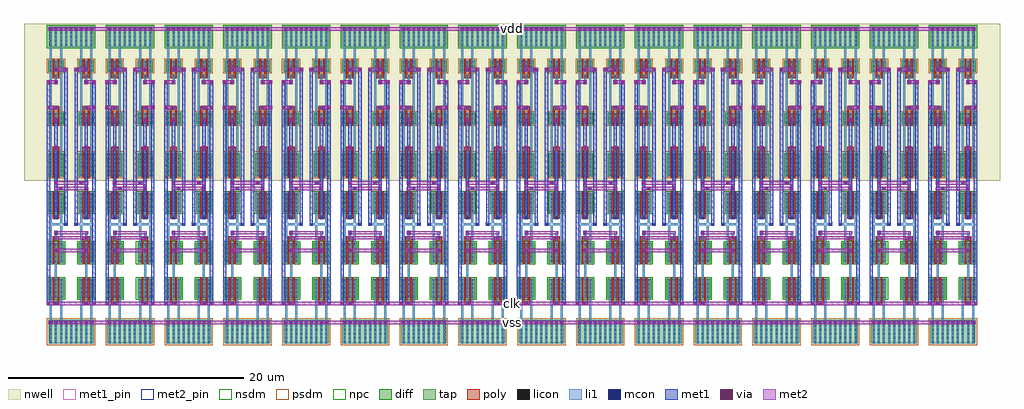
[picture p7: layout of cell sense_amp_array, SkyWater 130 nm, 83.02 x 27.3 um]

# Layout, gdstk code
from math import pi, radians
import gdstk
lib = gdstk.Library(unit=1e-6, precision=1e-09)
def R(c, l, rs):  # rectangles x0, y0, x1, y1
    for r in rs: c.add(gdstk.rectangle(r[:2], r[2:], *l))
def A(c, l, x, y, w, h, nx, ny, dx, dy):  # array of equal rectangles
    R(c, l, [(x+i*dx, y+j*dy, x+i*dx+w, y+j*dy+h) for i in range(nx) for j in range(ny)])
def P(c, l, *ps):  # polygons
    for p in ps: c.add(gdstk.Polygon(p, *l))
nwell = (64, 20)
diff = (65, 20)
tap = (65, 44)
poly = (66, 20)
licon = (66, 44)
li1 = (67, 20)
mcon = (67, 44)
met1_pin = (68, 16)
met1 = (68, 20)
via = (68, 44)
met2_pin = (69, 16)
met2 = (69, 20)
nsdm = (93, 44)
psdm = (94, 20)
npc = (95, 20)

mosend_1 = lib.new_cell('MOSEnd_1')
R(mosend_1, nwell, [(0,0,6.88,0.43)])

pyl1_c_cdns_664133800984 = lib.new_cell('PYL1_C_CDNS_664133800984')
R(pyl1_c_cdns_664133800984, poly, [(-0.14,-0.135,0.14,0.135)])
R(pyl1_c_cdns_664133800984, licon, [(-0.085,-0.085,0.085,0.085)])
R(pyl1_c_cdns_664133800984, li1, [(-0.085,-0.165,0.085,0.165)])
R(pyl1_c_cdns_664133800984, npc, [(-0.105,-0.185,0.105,0.185)])

mosconn = lib.new_cell('MOSConn')
R(mosconn, diff, [(-0.215,0.655,1.075,2.335)])
P(mosconn, poly, [(0.14,0.105),(0.14,2.465),(0.29,2.465),(0.29,0.455),(0.57,0.455),(0.57,2.465),(0.72,2.465),(0.72,0.105)])
A(mosconn, licon, -0.085, 0.73, 0.17, 0.17, 3, 5, 0.43, 0.34)
A(mosconn, li1, -0.085, 0.65, 0.17, 1.69, 3, 1, 0.43, 0)
R(mosconn, li1, [(0.345,0.115,0.515,0.445)])
R(mosconn, nsdm, [(-0.345,0.525,1.205,2.465)])
R(mosconn, npc, [(0.245,0.095,0.615,0.465)])
mosconn.add(gdstk.Reference(pyl1_c_cdns_664133800984, (0.43,0.28)))

mosconn_2 = lib.new_cell('MOSConn_2')
R(mosconn_2, nwell, [(-0.345,0,1.205,3.01)])
R(mosconn_2, diff, [(-0.215,0.655,1.075,2.655)])
P(mosconn_2, poly, [(0.14,0.105),(0.14,2.785),(0.29,2.785),(0.29,0.455),(0.57,0.455),(0.57,2.785),(0.72,2.785),(0.72,0.105)])
A(mosconn_2, licon, -0.085, 0.72, 0.17, 0.17, 3, 6, 0.43, 0.34)
A(mosconn_2, li1, -0.085, 0.64, 0.17, 2.03, 3, 1, 0.43, 0)
R(mosconn_2, li1, [(0.345,0.115,0.515,0.445)])
R(mosconn_2, psdm, [(-0.345,0.525,1.205,2.785)])
R(mosconn_2, npc, [(0.245,0.095,0.615,0.465)])
mosconn_2.add(gdstk.Reference(pyl1_c_cdns_664133800984, (0.43,0.28)))

mosconn_3 = lib.new_cell('MOSConn_3')
R(mosconn_3, nwell, [(-0.345,0,1.205,2.15)])
R(mosconn_3, diff, [(-0.215,0.655,1.075,1.655)])
P(mosconn_3, poly, [(0.14,0.105),(0.14,1.785),(0.29,1.785),(0.29,0.455),(0.57,0.455),(0.57,1.785),(0.72,1.785),(0.72,0.105)])
A(mosconn_3, licon, -0.085, 0.73, 0.17, 0.17, 3, 3, 0.43, 0.34)
A(mosconn_3, li1, -0.085, 0.65, 0.17, 1.01, 3, 1, 0.43, 0)
R(mosconn_3, li1, [(0.345,0.115,0.515,0.445)])
R(mosconn_3, psdm, [(-0.345,0.525,1.205,1.785)])
R(mosconn_3, npc, [(0.245,0.095,0.615,0.465)])
mosconn_3.add(gdstk.Reference(pyl1_c_cdns_664133800984, (0.43,0.28)))

mosconn_4 = lib.new_cell('MOSConn_4')
R(mosconn_4, nwell, [(-0.345,0,1.205,2.15)])
R(mosconn_4, diff, [(-0.215,0.655,1.075,1.655)])
P(mosconn_4, poly, [(0.14,0.105),(0.14,1.785),(0.29,1.785),(0.29,0.455),(0.57,0.455),(0.57,1.785),(0.72,1.785),(0.72,0.105)])
A(mosconn_4, licon, -0.085, 0.73, 0.17, 0.17, 3, 3, 0.43, 0.34)
A(mosconn_4, li1, -0.085, 0.65, 0.17, 1.01, 3, 1, 0.43, 0)
R(mosconn_4, li1, [(0.345,0.115,0.515,0.445)])
R(mosconn_4, psdm, [(-0.345,0.525,1.205,1.785)])
R(mosconn_4, npc, [(0.245,0.095,0.615,0.465)])
mosconn_4.add(gdstk.Reference(pyl1_c_cdns_664133800984, (0.43,0.28)))

mosconn_1 = lib.new_cell('MOSConn_1')
R(mosconn_1, diff, [(-0.215,0.655,1.075,2.335)])
P(mosconn_1, poly, [(0.14,0.105),(0.14,2.465),(0.29,2.465),(0.29,0.455),(0.57,0.455),(0.57,2.465),(0.72,2.465),(0.72,0.105)])
A(mosconn_1, licon, -0.085, 0.73, 0.17, 0.17, 3, 5, 0.43, 0.34)
A(mosconn_1, li1, -0.085, 0.65, 0.17, 1.69, 3, 1, 0.43, 0)
R(mosconn_1, li1, [(0.345,0.115,0.515,0.445)])
R(mosconn_1, nsdm, [(-0.345,0.525,1.205,2.465)])
R(mosconn_1, npc, [(0.245,0.095,0.615,0.465)])
mosconn_1.add(gdstk.Reference(pyl1_c_cdns_664133800984, (0.43,0.28)))

l1m1_c_cdns_664133800980 = lib.new_cell('L1M1_C_CDNS_664133800980')
R(l1m1_c_cdns_664133800980, li1, [(-0.085,-0.145,0.085,0.145)])
R(l1m1_c_cdns_664133800980, mcon, [(-0.085,-0.085,0.085,0.085)])
R(l1m1_c_cdns_664133800980, met1, [(-0.145,-0.145,0.145,0.145)])

m1m2_c_cdns_664133800981 = lib.new_cell('M1M2_C_CDNS_664133800981')
R(m1m2_c_cdns_664133800981, met1, [(-0.16,-0.145,0.16,0.145)])
R(m1m2_c_cdns_664133800981, via, [(-0.075,-0.075,0.075,0.075)])
R(m1m2_c_cdns_664133800981, met2, [(-0.14,-0.16,0.14,0.16)])

l1m1_c_cdns_664133800982 = lib.new_cell('L1M1_C_CDNS_664133800982')
R(l1m1_c_cdns_664133800982, li1, [(-0.085,-0.085,0.085,0.085)])
R(l1m1_c_cdns_664133800982, mcon, [(-0.085,-0.085,0.085,0.085)])
R(l1m1_c_cdns_664133800982, met1, [(-0.145,-0.145,0.145,0.145)])

sahalf = lib.new_cell('SAHalf')
R(sahalf, li1, [(0.345,1.02,0.515,1.395), (0.345,1.6,0.515,5.825), (-0.085,4.73,0.085,10.6), (0.775,4.73,0.945,10.6), (-0.58,7.835,0.895,8.005), (0.895,8.245,0.9,8.25), (0.345,8.33,0.515,8.705), (0.345,9.25,0.515,13.98), (0.345,14.175,0.515,14.55), (0.345,16.4,0.515,17.41), (0.345,17.615,0.515,17.99), (0.345,19.85,0.515,20.655), (0.345,20.86,0.515,21.87)])
R(sahalf, met1, [(0.935,1.02,1.215,20.155), (0.285,5.535,0.575,5.825), (-0.57,7.8,-0.29,21.23), (0.27,8.33,0.59,8.62), (0.29,8.33,0.57,16.93), (0.27,14.26,0.59,14.55), (0.27,16.625,0.59,16.915)])
R(sahalf, met2, [(0.285,1.02,1.235,1.31), (0.285,17.7,1.235,17.99), (0.285,19.85,1.235,20.14), (-0.59,20.925,0.575,21.215)])
sahalf.add(gdstk.Reference(mosconn, (0,6.97), x_reflection=True))
sahalf.add(gdstk.Reference(mosconn_2, (0,14.62), x_reflection=True))
sahalf.add(gdstk.Reference(mosconn_3, (0,18.06), x_reflection=True))
sahalf.add(gdstk.Reference(mosconn_4, (0,20.21)))
sahalf.add(gdstk.Reference(mosconn_1, (0,8.26)))
sahalf.add(gdstk.Reference(mosconn_1, (0,0.95)))
sahalf.add(gdstk.Reference(l1m1_c_cdns_664133800980, (0.43,16.77)))
sahalf.add(gdstk.Reference(l1m1_c_cdns_664133800980, (0.43,19.995)))
sahalf.add(gdstk.Reference(l1m1_c_cdns_664133800980, (0.43,17.845)))
sahalf.add(gdstk.Reference(l1m1_c_cdns_664133800980, (0.43,14.405)))
sahalf.add(gdstk.Reference(l1m1_c_cdns_664133800980, (0.43,8.475)))
sahalf.add(gdstk.Reference(l1m1_c_cdns_664133800980, (0.43,1.165)))
sahalf.add(gdstk.Reference(l1m1_c_cdns_664133800980, (0.43,21.07)))
sahalf.add(gdstk.Reference(l1m1_c_cdns_664133800980, (0.43,5.68)))
sahalf.add(gdstk.Reference(m1m2_c_cdns_664133800981, (0.43,21.06)))
sahalf.add(gdstk.Reference(m1m2_c_cdns_664133800981, (0.43,19.995)))
sahalf.add(gdstk.Reference(m1m2_c_cdns_664133800981, (0.43,17.845)))
sahalf.add(gdstk.Reference(m1m2_c_cdns_664133800981, (0.42,5.675)))
sahalf.add(gdstk.Reference(m1m2_c_cdns_664133800981, (0.42,1.165)))
sahalf.add(gdstk.Reference(m1m2_c_cdns_664133800981, (0.43,16.77)))
sahalf.add(gdstk.Reference(m1m2_c_cdns_664133800981, (0.43,14.405)))
sahalf.add(gdstk.Reference(m1m2_c_cdns_664133800981, (-0.43,21.07)))
sahalf.add(gdstk.Reference(m1m2_c_cdns_664133800981, (1.075,19.995)))
sahalf.add(gdstk.Reference(m1m2_c_cdns_664133800981, (1.075,17.845)))
sahalf.add(gdstk.Reference(m1m2_c_cdns_664133800981, (1.075,1.165)))
sahalf.add(gdstk.Reference(l1m1_c_cdns_664133800982, (-0.435,7.925)))

mostap = lib.new_cell('MOSTap')
R(mostap, nwell, [(-0.335,0,3.775,2.58)])
R(mostap, tap, [(-0.205,0.235,3.645,1.915)])
A(mostap, licon, -0.085, 0.31, 0.17, 0.17, 9, 5, 0.43, 0.34)
A(mostap, li1, -0.085, 0.23, 0.17, 1.69, 9, 1, 0.43, 0)
R(mostap, nsdm, [(-0.335,0.105,3.775,2.045)])

mostap_1 = lib.new_cell('MOSTap_1')
R(mostap_1, tap, [(-0.205,0.235,3.645,2.235)])
A(mostap_1, licon, -0.085, 0.3, 0.17, 0.17, 9, 6, 0.43, 0.34)
A(mostap_1, li1, -0.085, 0.22, 0.17, 2.03, 9, 1, 0.43, 0)
R(mostap_1, psdm, [(-0.335,0.105,3.775,2.365)])

m1m2_c_cdns_664133800983 = lib.new_cell('M1M2_C_CDNS_664133800983')
R(m1m2_c_cdns_664133800983, met1, [(-0.16,-0.16,0.16,0.16)])
R(m1m2_c_cdns_664133800983, via, [(-0.075,-0.075,0.075,0.075)])
R(m1m2_c_cdns_664133800983, met2, [(-0.16,-0.16,0.16,0.16)])

c_sa = lib.new_cell('SA')
A(c_sa, li1, 2.925, 0.33, 0.17, 2.03, 3, 1, 0.43, 0)
A(c_sa, li1, 2.925, 25.6, 0.17, 1.69, 3, 1, 0.43, 0)
R(c_sa, li1, [(1.635,0.33,1.805,5.845), (2.065,0.33,2.235,2.36), (2.495,0.33,2.665,5.85), (4.215,0.33,4.385,5.865), (4.645,0.33,4.815,2.36), (5.075,0.33,5.245,5.87), (2.065,9.105,2.235,9.91), (4.645,9.105,4.815,9.91), (2.065,11.83,2.235,16.56), (4.645,11.83,4.815,16.56), (2.075,13.43,2.73,13.615), (4.15,13.89,4.79,14.075), (1.635,14.53,1.805,27.29), (2.495,14.53,2.665,27.29), (4.215,14.53,4.385,27.29), (5.075,14.53,5.245,27.29), (2.065,25.6,2.235,27.29), (4.645,25.6,4.815,27.29)])
R(c_sa, met1, [(4.59,11.235,4.87,19.51)])
R(c_sa, met2, [(1.56,1.995,5.32,2.285), (2.005,3.6,4.875,3.89), (2.005,8.115,4.875,8.405), (2.005,9.19,4.875,9.48), (2.005,9.62,4.875,9.91), (1.99,13.385,4.875,13.675), (1.99,13.845,4.875,14.135), (1.56,26.96,5.32,27.25)])
c_sa.add(gdstk.Reference(sahalf, (2.58,2.58), rotation=pi, x_reflection=True))
c_sa.add(gdstk.Reference(sahalf, (4.3,2.58)))
c_sa.add(gdstk.Reference(mostap, (1.72,27.52), x_reflection=True))
c_sa.add(gdstk.Reference(mostap_1, (1.72,2.58), x_reflection=True))
c_sa.add(gdstk.Reference(l1m1_c_cdns_664133800980, (5.16,27.125)))
c_sa.add(gdstk.Reference(l1m1_c_cdns_664133800980, (4.73,27.125)))
c_sa.add(gdstk.Reference(l1m1_c_cdns_664133800980, (4.3,27.125)))
c_sa.add(gdstk.Reference(l1m1_c_cdns_664133800980, (3.87,27.125)))
c_sa.add(gdstk.Reference(l1m1_c_cdns_664133800980, (3.44,27.125)))
c_sa.add(gdstk.Reference(l1m1_c_cdns_664133800980, (3.01,27.125)))
c_sa.add(gdstk.Reference(l1m1_c_cdns_664133800980, (2.58,27.125)))
c_sa.add(gdstk.Reference(l1m1_c_cdns_664133800980, (2.15,27.125)))
c_sa.add(gdstk.Reference(l1m1_c_cdns_664133800980, (1.72,27.125)))
c_sa.add(gdstk.Reference(l1m1_c_cdns_664133800980, (5.16,2.15)))
c_sa.add(gdstk.Reference(l1m1_c_cdns_664133800980, (4.73,2.15)))
c_sa.add(gdstk.Reference(l1m1_c_cdns_664133800980, (4.3,2.15)))
c_sa.add(gdstk.Reference(l1m1_c_cdns_664133800980, (3.87,2.15)))
c_sa.add(gdstk.Reference(l1m1_c_cdns_664133800980, (3.44,2.15)))
c_sa.add(gdstk.Reference(l1m1_c_cdns_664133800980, (3.01,2.15)))
c_sa.add(gdstk.Reference(l1m1_c_cdns_664133800980, (2.58,2.15)))
c_sa.add(gdstk.Reference(l1m1_c_cdns_664133800980, (2.15,2.15)))
c_sa.add(gdstk.Reference(l1m1_c_cdns_664133800980, (1.72,2.15)))
c_sa.add(gdstk.Reference(l1m1_c_cdns_664133800980, (2.585,13.53), rotation=3*pi/2, x_reflection=True))
c_sa.add(gdstk.Reference(l1m1_c_cdns_664133800980, (4.295,13.99), rotation=pi/2))
c_sa.add(gdstk.Reference(m1m2_c_cdns_664133800981, (2.585,13.53), rotation=pi/2))
c_sa.add(gdstk.Reference(m1m2_c_cdns_664133800981, (4.295,13.995), rotation=pi/2))
c_sa.add(gdstk.Reference(m1m2_c_cdns_664133800981, (5.16,2.135), rotation=pi/2))
c_sa.add(gdstk.Reference(m1m2_c_cdns_664133800981, (4.73,2.135), rotation=pi/2))
c_sa.add(gdstk.Reference(m1m2_c_cdns_664133800981, (4.3,2.135), rotation=pi/2))
c_sa.add(gdstk.Reference(m1m2_c_cdns_664133800981, (3.87,2.135), rotation=pi/2))
c_sa.add(gdstk.Reference(m1m2_c_cdns_664133800981, (3.44,2.135), rotation=pi/2))
c_sa.add(gdstk.Reference(m1m2_c_cdns_664133800981, (3.01,2.135), rotation=pi/2))
c_sa.add(gdstk.Reference(m1m2_c_cdns_664133800981, (2.58,2.135), rotation=pi/2))
c_sa.add(gdstk.Reference(m1m2_c_cdns_664133800981, (1.72,2.135), rotation=pi/2))
c_sa.add(gdstk.Reference(m1m2_c_cdns_664133800981, (4.73,9.32), rotation=pi/2))
c_sa.add(gdstk.Reference(m1m2_c_cdns_664133800981, (4.715,13.53), rotation=pi, x_reflection=True))
c_sa.add(gdstk.Reference(m1m2_c_cdns_664133800981, (2.15,27.11), rotation=pi/2))
c_sa.add(gdstk.Reference(m1m2_c_cdns_664133800981, (1.72,27.11), rotation=pi/2))
c_sa.add(gdstk.Reference(m1m2_c_cdns_664133800981, (2.58,27.11), rotation=pi/2))
c_sa.add(gdstk.Reference(m1m2_c_cdns_664133800981, (3.01,27.11), rotation=pi/2))
c_sa.add(gdstk.Reference(m1m2_c_cdns_664133800981, (3.44,27.11), rotation=pi/2))
c_sa.add(gdstk.Reference(m1m2_c_cdns_664133800981, (3.87,27.11), rotation=pi/2))
c_sa.add(gdstk.Reference(m1m2_c_cdns_664133800981, (4.3,27.11), rotation=pi/2))
c_sa.add(gdstk.Reference(m1m2_c_cdns_664133800981, (4.73,27.11), rotation=pi/2))
c_sa.add(gdstk.Reference(m1m2_c_cdns_664133800981, (5.16,27.11), rotation=pi/2))
c_sa.add(gdstk.Reference(m1m2_c_cdns_664133800981, (2.15,2.135), rotation=pi/2))
c_sa.add(gdstk.Reference(m1m2_c_cdns_664133800981, (2.165,9.76), rotation=pi/2))
c_sa.add(gdstk.Reference(l1m1_c_cdns_664133800982, (4.73,9.335)))
c_sa.add(gdstk.Reference(l1m1_c_cdns_664133800982, (2.15,9.765)))
c_sa.add(gdstk.Reference(m1m2_c_cdns_664133800983, (2.15,13.99)))

moscorner = lib.new_cell('MOSCorner')

moscorner_1 = lib.new_cell('MOSCorner_1')
R(moscorner_1, nwell, [(-0.1,0,0.47,0.43)])

mosrowedge = lib.new_cell('MOSRowEdge')

mosrowedge_1 = lib.new_cell('MOSRowEdge_1')

mosrowedge_2 = lib.new_cell('MOSRowEdge_2')

mosrowedge_3 = lib.new_cell('MOSRowEdge_3')
R(mosrowedge_3, nwell, [(-0.1,0,0.47,3.01)])

mosrowedge_4 = lib.new_cell('MOSRowEdge_4')
R(mosrowedge_4, nwell, [(-0.1,0,0.47,2.15)])

mosrowedge_5 = lib.new_cell('MOSRowEdge_5')
R(mosrowedge_5, nwell, [(-0.1,0,0.47,2.15)])

mosrowedge_6 = lib.new_cell('MOSRowEdge_6')
R(mosrowedge_6, nwell, [(-0.1,0,0.47,2.58)])

mosspace = lib.new_cell('MOSSpace')

mosspace_1 = lib.new_cell('MOSSpace_1')

mosspace_2 = lib.new_cell('MOSSpace_2')

mosspace_4 = lib.new_cell('MOSSpace_4')

mosspace_3 = lib.new_cell('MOSSpace_3')

mosspace_5 = lib.new_cell('MOSSpace_5')

mosspace_7 = lib.new_cell('MOSSpace_7')

mosspace_6 = lib.new_cell('MOSSpace_6')

mosspace_8 = lib.new_cell('MOSSpace_8')
R(mosspace_8, nwell, [(0,0,1.72,3.01)])

mosspace_10 = lib.new_cell('MOSSpace_10')
R(mosspace_10, nwell, [(0,0,1.72,3.01)])

mosspace_9 = lib.new_cell('MOSSpace_9')
R(mosspace_9, nwell, [(0,0,1.72,3.01)])

mosspace_11 = lib.new_cell('MOSSpace_11')
R(mosspace_11, nwell, [(0,0,1.72,2.15)])

mosspace_13 = lib.new_cell('MOSSpace_13')
R(mosspace_13, nwell, [(0,0,1.72,2.15)])

mosspace_12 = lib.new_cell('MOSSpace_12')
R(mosspace_12, nwell, [(0,0,1.72,2.15)])

mosspace_14 = lib.new_cell('MOSSpace_14')
R(mosspace_14, nwell, [(0,0,1.72,2.15)])

mosspace_16 = lib.new_cell('MOSSpace_16')
R(mosspace_16, nwell, [(0,0,1.72,2.15)])

mosspace_15 = lib.new_cell('MOSSpace_15')
R(mosspace_15, nwell, [(0,0,1.72,2.15)])

mosspace_17 = lib.new_cell('MOSSpace_17')
R(mosspace_17, nwell, [(0,0,1.72,2.58)])

mosspace_18 = lib.new_cell('MOSSpace_18')
R(mosspace_18, nwell, [(0,0,1.72,2.58)])

mosend = lib.new_cell('MOSEnd')

sramgen_sp_sense_amp = lib.new_cell('sramgen_sp_sense_amp')
R(sramgen_sp_sense_amp, nwell, [(-0.1,17.63,7.92,18.92), (-0.1,21.07,7.92,23.22)])
R(sramgen_sp_sense_amp, met1_pin, [(2.48,11.665,2.76,19.94), (5.06,11.665,5.34,19.94), (3.34,12.31,3.62,24.24), (4.2,12.31,4.48,24.24)])
R(sramgen_sp_sense_amp, met2_pin, [(2.045,2.425,5.775,2.715), (2.475,4.03,5.345,4.32), (2.475,9.62,5.345,9.91), (2.475,10.05,5.345,10.34), (2.48,13.815,5.34,14.105), (2.48,14.275,5.34,14.565), (2.045,27.39,5.775,27.68)])
sramgen_sp_sense_amp.add(gdstk.Reference(mosend_1, (0.47,25.8), x_reflection=True))
sramgen_sp_sense_amp.add(gdstk.Reference(c_sa, (0.47,0.43)))
sramgen_sp_sense_amp.add(gdstk.Reference(moscorner, (7.82,0), rotation=pi, x_reflection=True))
sramgen_sp_sense_amp.add(gdstk.Reference(moscorner, (0,0)))
sramgen_sp_sense_amp.add(gdstk.Reference(moscorner_1, (7.82,25.8), rotation=pi))
sramgen_sp_sense_amp.add(gdstk.Reference(moscorner_1, (0,25.8), x_reflection=True))
sramgen_sp_sense_amp.add(gdstk.Reference(mosrowedge, (7.82,3.01), rotation=pi))
sramgen_sp_sense_amp.add(gdstk.Reference(mosrowedge, (0,3.01), x_reflection=True))
sramgen_sp_sense_amp.add(gdstk.Reference(mosrowedge_1, (7.82,11.27), rotation=pi, x_reflection=True))
sramgen_sp_sense_amp.add(gdstk.Reference(mosrowedge_1, (0,11.27)))
sramgen_sp_sense_amp.add(gdstk.Reference(mosrowedge_1, (7.82,3.96), rotation=pi, x_reflection=True))
sramgen_sp_sense_amp.add(gdstk.Reference(mosrowedge_1, (0,3.96)))
sramgen_sp_sense_amp.add(gdstk.Reference(mosrowedge_2, (7.82,9.98), rotation=pi))
sramgen_sp_sense_amp.add(gdstk.Reference(mosrowedge_2, (0,9.98), x_reflection=True))
sramgen_sp_sense_amp.add(gdstk.Reference(mosrowedge_3, (7.82,17.63), rotation=pi))
sramgen_sp_sense_amp.add(gdstk.Reference(mosrowedge_3, (0,17.63), x_reflection=True))
sramgen_sp_sense_amp.add(gdstk.Reference(mosrowedge_4, (7.82,21.07), rotation=pi))
sramgen_sp_sense_amp.add(gdstk.Reference(mosrowedge_4, (0,21.07), x_reflection=True))
sramgen_sp_sense_amp.add(gdstk.Reference(mosrowedge_5, (7.82,23.22), rotation=pi, x_reflection=True))
sramgen_sp_sense_amp.add(gdstk.Reference(mosrowedge_5, (0,23.22)))
sramgen_sp_sense_amp.add(gdstk.Reference(mosrowedge_6, (7.82,27.95), rotation=pi))
sramgen_sp_sense_amp.add(gdstk.Reference(mosrowedge_6, (0,27.95), x_reflection=True))
sramgen_sp_sense_amp.add(gdstk.Reference(mosspace, (0.47,3.01), x_reflection=True))
sramgen_sp_sense_amp.add(gdstk.Reference(mosspace_1, (5.63,3.01), x_reflection=True))
sramgen_sp_sense_amp.add(gdstk.Reference(mosspace_2, (0.47,11.27)))
sramgen_sp_sense_amp.add(gdstk.Reference(mosspace_2, (0.47,3.96)))
sramgen_sp_sense_amp.add(gdstk.Reference(mosspace_4, (5.63,11.27)))
sramgen_sp_sense_amp.add(gdstk.Reference(mosspace_4, (5.63,3.96)))
sramgen_sp_sense_amp.add(gdstk.Reference(mosspace_3, (3.05,11.27)))
sramgen_sp_sense_amp.add(gdstk.Reference(mosspace_3, (3.05,3.96)))
sramgen_sp_sense_amp.add(gdstk.Reference(mosspace_5, (0.47,9.98), x_reflection=True))
sramgen_sp_sense_amp.add(gdstk.Reference(mosspace_7, (5.63,9.98), x_reflection=True))
sramgen_sp_sense_amp.add(gdstk.Reference(mosspace_6, (3.05,9.98), x_reflection=True))
sramgen_sp_sense_amp.add(gdstk.Reference(mosspace_8, (0.47,17.63), x_reflection=True))
sramgen_sp_sense_amp.add(gdstk.Reference(mosspace_10, (5.63,17.63), x_reflection=True))
sramgen_sp_sense_amp.add(gdstk.Reference(mosspace_9, (3.05,17.63), x_reflection=True))
sramgen_sp_sense_amp.add(gdstk.Reference(mosspace_11, (0.47,21.07), x_reflection=True))
sramgen_sp_sense_amp.add(gdstk.Reference(mosspace_13, (5.63,21.07), x_reflection=True))
sramgen_sp_sense_amp.add(gdstk.Reference(mosspace_12, (3.05,21.07), x_reflection=True))
sramgen_sp_sense_amp.add(gdstk.Reference(mosspace_14, (0.47,23.22)))
sramgen_sp_sense_amp.add(gdstk.Reference(mosspace_16, (5.63,23.22)))
sramgen_sp_sense_amp.add(gdstk.Reference(mosspace_15, (3.05,23.22)))
sramgen_sp_sense_amp.add(gdstk.Reference(mosspace_17, (0.47,27.95), x_reflection=True))
sramgen_sp_sense_amp.add(gdstk.Reference(mosspace_18, (5.63,27.95), x_reflection=True))
sramgen_sp_sense_amp.add(gdstk.Reference(mosend, (0.47,0)))
sramgen_sp_sense_amp.add(gdstk.Label('outn', (5.2,15.802), layer=68, texttype=16))
sramgen_sp_sense_amp.add(gdstk.Label('outp', (2.62,15.802), layer=68, texttype=16))
sramgen_sp_sense_amp.add(gdstk.Label('midn', (3.48,18.275), layer=68, texttype=16))
sramgen_sp_sense_amp.add(gdstk.Label('midp', (4.34,18.275), layer=68, texttype=16))
sramgen_sp_sense_amp.add(gdstk.Label('vss', (3.91,2.57), layer=69, texttype=16))
sramgen_sp_sense_amp.add(gdstk.Label('vdd', (3.91,27.535), layer=69, texttype=16))
sramgen_sp_sense_amp.add(gdstk.Label('clk', (3.91,4.175), layer=69, texttype=16))
sramgen_sp_sense_amp.add(gdstk.Label('inn', (3.91,9.765), layer=69, texttype=16))
sramgen_sp_sense_amp.add(gdstk.Label('inp', (3.91,10.195), layer=69, texttype=16))
sramgen_sp_sense_amp.add(gdstk.Label('outp', (3.91,14.42), layer=69, texttype=16))
sramgen_sp_sense_amp.add(gdstk.Label('outn', (3.91,13.96), layer=69, texttype=16))

sense_amp_array_core = lib.new_cell('sense_amp_array_core')
sense_amp_array_core.add(gdstk.Reference(sramgen_sp_sense_amp, (0,0)))
sense_amp_array_core.add(gdstk.Reference(sramgen_sp_sense_amp, (5,0)))
sense_amp_array_core.add(gdstk.Reference(sramgen_sp_sense_amp, (10,0)))
sense_amp_array_core.add(gdstk.Reference(sramgen_sp_sense_amp, (15,0)))
sense_amp_array_core.add(gdstk.Reference(sramgen_sp_sense_amp, (20,0)))
sense_amp_array_core.add(gdstk.Reference(sramgen_sp_sense_amp, (25,0)))
sense_amp_array_core.add(gdstk.Reference(sramgen_sp_sense_amp, (30,0)))
sense_amp_array_core.add(gdstk.Reference(sramgen_sp_sense_amp, (35,0)))
sense_amp_array_core.add(gdstk.Reference(sramgen_sp_sense_amp, (40,0)))
sense_amp_array_core.add(gdstk.Reference(sramgen_sp_sense_amp, (45,0)))
sense_amp_array_core.add(gdstk.Reference(sramgen_sp_sense_amp, (50,0)))
sense_amp_array_core.add(gdstk.Reference(sramgen_sp_sense_amp, (55,0)))
sense_amp_array_core.add(gdstk.Reference(sramgen_sp_sense_amp, (60,0)))
sense_amp_array_core.add(gdstk.Reference(sramgen_sp_sense_amp, (65,0)))
sense_amp_array_core.add(gdstk.Reference(sramgen_sp_sense_amp, (70,0)))
sense_amp_array_core.add(gdstk.Reference(sramgen_sp_sense_amp, (75,0)))

sense_amp_array = lib.new_cell('sense_amp_array')
R(sense_amp_array, met2_pin, [(1.945,2.425,80.875,2.715), (2.375,4.03,80.445,4.32), (1.945,27.39,80.875,27.68)])
R(sense_amp_array, met2, [(1.945,2.425,80.875,2.715), (2.375,4.03,80.445,4.32), (1.945,27.39,80.875,27.68)])
sense_amp_array.add(gdstk.Reference(sense_amp_array_core, (0,0)))
sense_amp_array.add(gdstk.Label('vdd', (41.41,27.535), layer=69, texttype=16))
sense_amp_array.add(gdstk.Label('vss', (41.41,2.57), layer=69, texttype=16))
sense_amp_array.add(gdstk.Label('clk', (41.41,4.175), layer=69, texttype=16))

lib.write_gds('sense_amp_array.gds')
